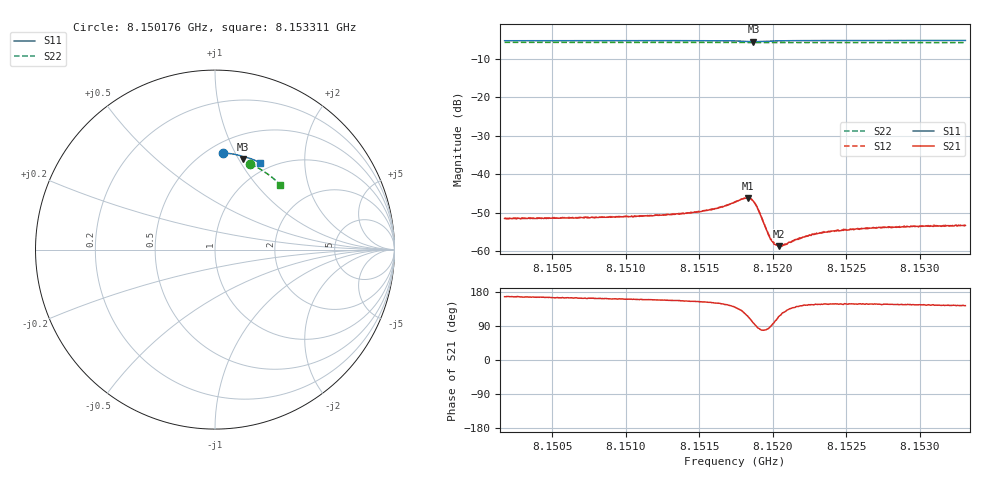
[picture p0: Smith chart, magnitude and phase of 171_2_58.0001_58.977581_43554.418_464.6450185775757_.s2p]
#  HZ  S  RI  R  50.00
! Rohde & Schwarz Vector Network Analyzer
! Rohde-Schwarz,ZNB20-2Port,1311601062101988,3.16
! Created: UTC 3/21/2024, 12:57:56 AM
! freq[Hz]  re:S11  im:S11  re:S21  im:S21  re:S12  im:S12  re:S22  im:S22
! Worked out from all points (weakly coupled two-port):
!   401 points, 8.150176 GHz to 8.153311 GHz, reference 50 ohm
!   highest |S21| = -46.10 dB at 8.15183 GHz (marker M1); lowest = -58.6 dB at 8.152041 GHz (marker M2)
!   lowest |S11| = -5.6 dB at 8.151869 GHz (marker M3), VSWR 3.21, Z = 37.4 + j51.9 ohm
!   |S11| at or under -10 dB: nowhere
!   |S22| runs from -5.8 to -5.8 dB; largest |S21 - S12| = 0.00012
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8.1501758e9  0.0438 0.5391  -0.00261 0.0006  -0.00262 0.000637  0.1974 0.4762
8.150701e9  0.0806 0.5356  -0.00263 0.000799  -0.00262 0.000875  0.2282 0.4618
8.1512262e9  0.1176 0.5294  -0.00273 0.00108  -0.00273 0.00111  0.2576 0.4451
8.151383e9  0.1288 0.5267  -0.00282 0.00125  -0.00284 0.00129  0.2662 0.4399
8.1515319e9  0.14 0.5237  -0.00302 0.00151  -0.003 0.00156  0.2743 0.4344
8.1516417e9  0.1488 0.5204  -0.0032 0.00188  -0.00318 0.00198  0.2802 0.4305
8.1517436e9  0.157 0.5145  -0.00331 0.00285  -0.0033 0.00291  0.2856 0.4267
8.1518298e9  0.159 0.5042  -0.00215 0.00446  -0.00211 0.00452  0.2899 0.4234
8.1518455e9  0.1573 0.5027  -0.00156 0.00459  -0.00152 0.00466  0.2906 0.4226
8.151869e9  0.1541 0.502  -0.000584 0.00443  -0.000473 0.00444  0.2914 0.4219
8.1519004e9  0.151 0.5051  0.000356 0.0035  0.000374 0.00354  0.293 0.4209
8.1519631e9  0.1538 0.5124  0.000264 0.00179  0.000278 0.00179  0.2964 0.419
8.1519866e9  0.1562 0.5137  1.85e-05 0.00142  7.11e-05 0.00151  0.2977 0.4179
8.1520101e9  0.1587 0.5144  -0.00019 0.00122  -0.000189 0.00129  0.299 0.4173
8.1520415e9  0.1619 0.5148  -0.000493 0.00106  -0.000479 0.00109  0.3005 0.4161
8.1520728e9  0.165 0.5149  -0.000702 0.00099  -0.000677 0.00102  0.3024 0.4148
8.1521512e9  0.1718 0.5141  -0.00106 0.00094  -0.00103 0.000929  0.3063 0.4118
8.1522688e9  0.181 0.512  -0.00138 0.000936  -0.00138 0.000949  0.3122 0.407
8.1523942e9  0.1901 0.5094  -0.00154 0.000965  -0.00153 0.000954  0.3185 0.402
8.1524961e9  0.1973 0.507  -0.00161 0.00101  -0.00161 0.00104  0.3235 0.3978
8.152794e9  0.2173 0.4994  -0.00173 0.00113  -0.00172 0.00119  0.3376 0.3853
8.1533114e9  0.2504 0.4846  -0.00174 0.00129  -0.00177 0.00132  0.3613 0.3622
